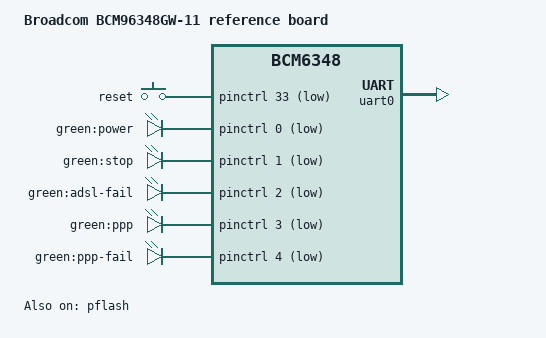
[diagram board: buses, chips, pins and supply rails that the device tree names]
#include "bcm6348.dtsi"

#include <dt-bindings/input/input.h>

/ {
	model = "Broadcom BCM96348GW-11 reference board";
	compatible = "brcm,bcm96348gw-11", "brcm,bcm6348";

	aliases {
		led-boot = &led_power_green;
		led-failsafe = &led_power_green;
		led-running = &led_power_green;
		led-upgrade = &led_power_green;
	};

	chosen {
		bootargs = "rootfstype=squashfs,jffs2 noinitrd console=ttyS0,115200";
		stdout-path = "serial0:115200n8";
	};

	keys {
		compatible = "gpio-keys-polled";
		#address-cells = <1>;
		#size-cells = <0>;
		poll-interval = <20>;

		reset {
			label = "reset";
			gpios = <&pinctrl 33 1>;
			linux,code = <KEY_RESTART>;
			debounce-interval = <60>;
		};
	};

	leds {
		compatible = "gpio-leds";

		led_power_green: power_green {
			label = "green:power";
			gpios = <&pinctrl 0 1>;
			default-state = "on";
		};
		stop_green {
			label = "green:stop";
			gpios = <&pinctrl 1 1>;
		};
		adsl_fail_green {
			label = "green:adsl-fail";
			gpios = <&pinctrl 2 1>;
		};
		ppp_green {
			label = "green:ppp";
			gpios = <&pinctrl 3 1>;
		};
		ppp_fail_green {
			label = "green:ppp-fail";
			gpios = <&pinctrl 4 1>;
		};
	};
};

&pflash {
	status = "okay";

	partitions {
		compatible = "brcm,bcm963xx-cfe-nor-partitions";
	};
};

&pinctrl {
	pinctrl-names = "default";
	pinctrl-0 = <&pinctrl_pci &pinctrl_ext_mii &pinctrl_mii_pccard>;
};

&uart0 {
	status = "okay";
};
